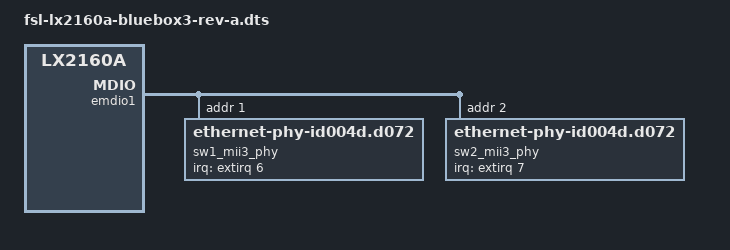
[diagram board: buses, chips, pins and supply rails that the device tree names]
/dts-v1/;
#include "fsl-lx2160a-bluebox3.dts"
/ {
	compatible = "fsl,lx2160a-bluebox3-rev-a", "fsl,lx2160a";
};
&emdio1 {
	/delete-node/ ethernet-phy@5;
	sw1_mii3_phy: ethernet-phy@1 {
		compatible = "ethernet-phy-id004d.d072";
		reg = <0x1>;
		interrupts-extended = <&extirq 6 IRQ_TYPE_LEVEL_LOW>;
	};
	/delete-node/ ethernet-phy@6;
	sw2_mii3_phy: ethernet-phy@2 {
		compatible = "ethernet-phy-id004d.d072";
		reg = <0x2>;
		interrupts-extended = <&extirq 7 IRQ_TYPE_LEVEL_LOW>;
	};
};
